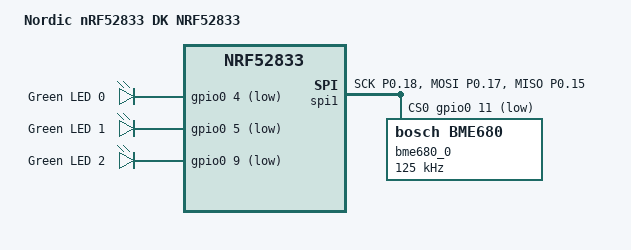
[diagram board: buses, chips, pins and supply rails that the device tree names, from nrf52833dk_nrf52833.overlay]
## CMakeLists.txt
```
#
# Copyright (c) 2018 Bosch Sensortec GmbH
#
# SPDX-License-Identifier: Apache-2.0
#

cmake_minimum_required(VERSION 3.20.0)
find_package(Zephyr REQUIRED HINTS $ENV{ZEPHYR_BASE})
project(bme680Copy)

FILE(GLOB app_sources src/*.c)
target_sources(app PRIVATE ${app_sources})
```

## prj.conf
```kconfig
CONFIG_STDOUT_CONSOLE=y
CONFIG_CBPRINTF_FP_SUPPORT=y
# CONFIG_I2C=y
CONFIG_SPI=y
CONFIG_SENSOR=y
```

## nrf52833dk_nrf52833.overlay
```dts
/* for node */

/ {
	model = "Nordic nRF52833 DK NRF52833";
    compatible = "nordic,nrf52833-dk-nrf52833";

	chosen {
		zephyr,console = &uart0;
		zephyr,shell-uart = &uart0;
		zephyr,uart-mcumgr = &uart0;
		zephyr,bt-mon-uart = &uart0;
		zephyr,bt-c2h-uart = &uart0;
		zephyr,sram = &sram0;
		zephyr,flash = &flash0;
		zephyr,code-partition = &slot0_partition;
	};

	leds {
		compatible = "gpio-leds";
		led0: led_0 {
			gpios = <&gpio0 4 GPIO_ACTIVE_LOW>;
			label = "Green LED 0";
		};
		led1: led_1 {
			gpios = <&gpio0 5 GPIO_ACTIVE_LOW>;
			label = "Green LED 1";
		};
		led2: led_2 {
			gpios = <&gpio0 9 GPIO_ACTIVE_LOW>;
			label = "Green LED 2";
		};
		
	};
};
&pinctrl {
	uart0_default: uart0_default {
		group1 {
			psels = <NRF_PSEL(UART_TX, 0, 29)>, //6   for nrf52dk5832 / 5840
				<NRF_PSEL(UART_RX, 0, 28)>,   //8	  for nrf52dk5832
				<NRF_PSEL(UART_RTS, 0, 5)>,
				<NRF_PSEL(UART_CTS, 0, 7)>;
		};
	};

	uart0_sleep: uart0_sleep {
		group1 {
			psels = <NRF_PSEL(UART_TX, 0, 29)>,    //6
				<NRF_PSEL(UART_RX, 0, 28)>,        //8
				<NRF_PSEL(UART_RTS, 0, 5)>,
				<NRF_PSEL(UART_CTS, 0, 7)>;
			low-power-enable;
		};
	};
	i2c0_default: i2c0_default {
		group1 {
			psels = <NRF_PSEL(TWIM_SDA, 0, 2)>,  
				<NRF_PSEL(TWIM_SCL, 0, 3)>;      
		};
	};

	i2c0_sleep: i2c0_sleep {
		group1 {
			psels = <NRF_PSEL(TWIM_SDA, 0, 26)>,   
				<NRF_PSEL(TWIM_SCL, 0, 25)>;        
			low-power-enable;
		};
	};
};


&spi1 {
    compatible = "nordic,nrf-spi"; // using SPI as per ERRATA 58
    status = "okay";
    pinctrl-0 = <&spi1_default>;
    pinctrl-1 = <&spi1_sleep>;
    pinctrl-names = "default", "sleep";

    // Chip-select lines for each sensor
    cs-gpios = <&gpio0 11 GPIO_ACTIVE_LOW>;    // CS for sensor 4

    // Sensor 1
    bme680_0: bme680@0 {
        compatible = "bosch,bme680";
        reg = <0>;
        spi-max-frequency = <125000>;
    };
};

&pinctrl {
    spi1_default: spi1_default {
        group1 {
            psels = <NRF_PSEL(SPIM_SCK, 0, 18)>,
                    <NRF_PSEL(SPIM_MOSI, 0, 17)>,
                    <NRF_PSEL(SPIM_MISO, 0, 15)>;
        };
    };

    spi1_sleep: spi1_sleep {
        group1 {
            psels = <NRF_PSEL(SPIM_SCK, 0, 18)>,
                    <NRF_PSEL(SPIM_MOSI, 0, 17)>,
                    <NRF_PSEL(SPIM_MISO, 0, 15)>;
            low-power-enable;
        };
    };
};
```

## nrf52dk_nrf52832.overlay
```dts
// &spi1 {
    //     compatible = "nordic,nrf-spi"; //using SPI as per ERRATA 58
    //     status = "okay";
    //     pinctrl-0 = <&spi1_default>;
    //     pinctrl-1 = <&spi1_sleep>;
    //     pinctrl-names = "default", "sleep";
    //     cs-gpios = <&gpio0 3 GPIO_ACTIVE_LOW>;
    //     bme680: bme680@0 {
        //         compatible = "bosch,bme680";
        //         reg = <0>;
        //         spi-max-frequency = <125000>;
    //     };
// };


&spi1 {
    compatible = "nordic,nrf-spi"; // using SPI as per ERRATA 58
    status = "okay";
    pinctrl-0 = <&spi1_default>;
    pinctrl-1 = <&spi1_sleep>;
    pinctrl-names = "default", "sleep";

    // Chip-select lines for each sensor
    cs-gpios = <&gpio0 27 GPIO_ACTIVE_LOW>;    // CS for sensor 4

    // Sensor 1
    bme680_0: bme680@0 {
        compatible = "bosch,bme680";
        reg = <0>;
        spi-max-frequency = <125000>;
    };
};

&pinctrl {
    spi1_default: spi1_default {
        group1 {
            psels = <NRF_PSEL(SPIM_SCK, 0, 31)>,
                    <NRF_PSEL(SPIM_MOSI, 0, 30)>,
                    <NRF_PSEL(SPIM_MISO, 0, 29)>;
        };
    };

    spi1_sleep: spi1_sleep {
        group1 {
            psels = <NRF_PSEL(SPIM_SCK, 0, 31)>,
                    <NRF_PSEL(SPIM_MOSI, 0, 30)>,
                    <NRF_PSEL(SPIM_MISO, 0, 29)>;
            low-power-enable;
        };
    };
};
```

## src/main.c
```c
#include <zephyr/kernel.h>
#include <zephyr/device.h>
#include <zephyr/drivers/sensor.h>
#include <stdio.h>

#define NUM_SENSORS 1

void main(void)
{
	// Array of sensor devices
	const struct device *sensors[NUM_SENSORS] = {
		DEVICE_DT_GET(DT_NODELABEL(bme680_0)),
	};

	struct sensor_value temp, press, humidity, gas_res;

	// Check if all sensors are ready
	for (int i = 0; i < NUM_SENSORS; i++)
	{
		if (!device_is_ready(sensors[i]))
		{
			printk("Sensor %d: device not ready.\n", i);
			return;
		}
		printf("Sensor %d: Device %p name is %s\n", i, sensors[i], sensors[i]->name);
	}

	while (1)
	{
		// Loop through each sensor to fetch and display data
		for (int i = 0; i < NUM_SENSORS; i++)
		{
			sensor_sample_fetch(sensors[i]);
			sensor_channel_get(sensors[i], SENSOR_CHAN_AMBIENT_TEMP, &temp);
			sensor_channel_get(sensors[i], SENSOR_CHAN_PRESS, &press);
			sensor_channel_get(sensors[i], SENSOR_CHAN_HUMIDITY, &humidity);
			sensor_channel_get(sensors[i], SENSOR_CHAN_GAS_RES, &gas_res);

			printf("Sensor %d: T: %d.%02d; P: %d.%02d; H: %d.%02d; G: %d\n",
				   i, temp.val1, temp.val2 / 1000, press.val1, press.val2 / 1000,
				   humidity.val1, humidity.val2 / 1000, gas_res.val1 / 1000);
		}
		k_sleep(K_MSEC(1000));
	}
}
```
